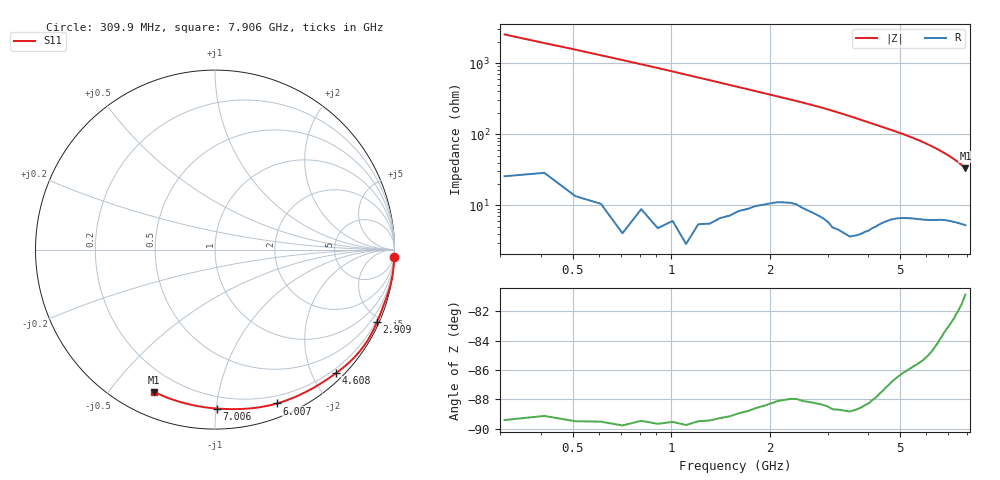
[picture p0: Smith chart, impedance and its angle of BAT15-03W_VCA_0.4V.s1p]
! Infineon Technologies  Discrete & RF Semiconductors
! BAT15-03W-E6327
! VCA = 0.4 V
! One-Port S-Parameters
# Hz  S  MA  R  50
!f  S11
!Hz  Mag  Ang
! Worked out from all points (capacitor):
!   77 points, 309.9 MHz to 7.906 GHz, reference 50 ohm
!   read as one part to ground: C = 203 fF near 309.9 MHz
!   lowest |Z| = 33.2 ohm at 7.906 GHz (marker M1)
!   S11 on the Smith chart (normalised r, x): 309.9 MHz: 1, -51; 2.909 GHz: 0.13, -4.68; 4.608 GHz: 0.12, -2.37; 6.007 GHz: 0.13, -1.47; 7.006 GHz: 0.12, -1.01; 7.906 GHz: 0.11, -0.66
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3.0985e8  0.9996 -2.3
9.0955e8  0.9993 -6.7
1.30935e9  0.9983 -9.9
1.70915e9  0.9953 -13.2
2.2089e9  0.9898 -17.5
2.50875e9  0.9887 -20.2
2.90855e9  0.9886 -24.1
3.2084e9  0.9896 -27.4
3.50825e9  0.9896 -31.1
3.70815e9  0.9873 -33.6
4.10795e9  0.979 -38.9
4.30785e9  0.9733 -41.5
4.6077e9  0.9636 -45.7
4.90755e9  0.954 -49.9
5.10745e9  0.9483 -52.9
5.4073e9  0.9408 -57.5
5.6072e9  0.9357 -60.8
5.8071e9  0.9302 -64.3
6.007e9  0.924 -68.1
6.30685e9  0.9133 -74.0
6.50675e9  0.905 -78.2
6.70665e9  0.8965 -82.5
7.0065e9  0.8857 -89.3
7.10645e9  0.8828 -91.7
7.30635e9  0.8772 -96.6
7.50625e9  0.8719 -101.9
7.70615e9  0.8674 -107.3
7.90605e9  0.8629 -113.1
